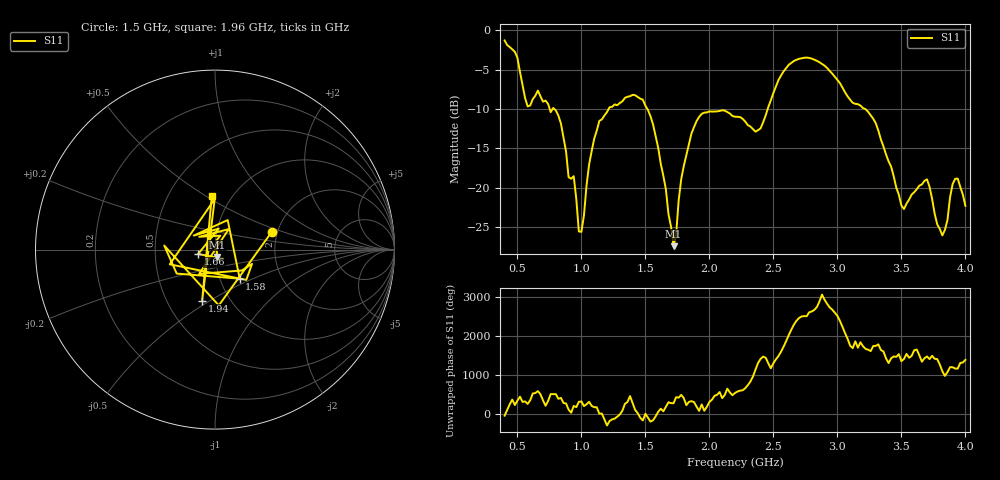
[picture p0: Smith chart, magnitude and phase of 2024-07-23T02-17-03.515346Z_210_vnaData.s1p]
!Created with skrf (http://scikit-rf.org).
# Hz S RI R 50.0
!freq ReS11 ImS11
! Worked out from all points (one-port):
!   181 points, 400 MHz to 4 GHz, reference 50 ohm
!   lowest |S11| = -27.5 dB at 1.72 GHz (marker M1), VSWR 1.09, Z = 51.1 - j4.15 ohm
!   |S11| at or under -10 dB: 788.6 MHz to 1.213 GHz (424 MHz wide, 42.4 % of centre); 1.515 GHz to 2.455 GHz (940.1 MHz wide, 47.4 % of centre); 3.217 GHz to end of sweep (the widest 3 of 4)
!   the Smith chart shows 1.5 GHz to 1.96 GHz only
!   S11 on the Smith chart (normalised r, x): 1.5 GHz: 1.87, +0.42; 1.58 GHz: 1.24, -0.42; 1.66 GHz: 0.83, -0.04; 1.94 GHz: 0.74, -0.46; 1.96 GHz: 0.81, +0.53
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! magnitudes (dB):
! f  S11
! 400 MHz  -1.3
! 500 MHz  -3.5
! 580 MHz  -9.7
! 660 MHz  -7.7
! 860 MHz  -13.6
! 1 GHz  -25.7
! 1.06 GHz  -17.1
! 1.14 GHz  -11.5
! 1.3 GHz  -9.2
! 1.5 GHz  -9.6
! 1.58 GHz  -13.4
! 1.66 GHz  -20.2
! 1.72 GHz  -27.5
! 1.76 GHz  -21.6
! 1.86 GHz  -13.1
! 1.94 GHz  -10.6
! 1.96 GHz  -10.5
! 2.2 GHz  -11.0
! 2.4 GHz  -12.5
! 2.66 GHz  -3.9
! 3.1 GHz  -8.8
! 3.28 GHz  -11.2
! 3.5 GHz  -22.3
! 3.56 GHz  -21.5
! 3.7 GHz  -19.0
! 3.82 GHz  -26.1
! 3.92 GHz  -18.9
! 4 GHz  -22.3
